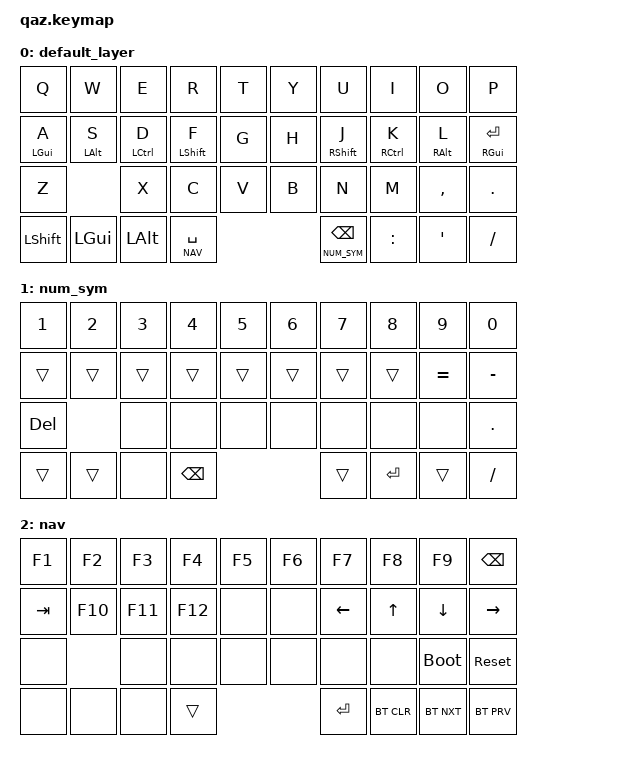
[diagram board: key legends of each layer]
/*
 * Copyright (c) 2020 The ZMK Contributors
 *
 * SPDX-License-Identifier: MIT
 */

#include <behaviors.dtsi>
#include <dt-bindings/zmk/keys.h>
#include <dt-bindings/zmk/bt.h>

#define DEFAULT 0
#define NUM_SYM 1
#define NAV     2

/ {
    behaviors {
        hm: homerow_mods {
            compatible = "zmk,behavior-hold-tap";
            #binding-cells = <2>;
            tapping-term-ms = <225>;
            flavor = "tap-preferred";
            bindings = <&kp>, <&kp>;
        };
    };
};

/ {
    keymap {
        compatible = "zmk,keymap";

        default_layer {
            bindings = <
    &kp Q      &kp W      &kp E       &kp R       &kp T  &kp Y  &kp U       &kp I       &kp O      &kp P
    &hm LGUI A &hm LALT S &hm LCTRL D &hm LSHFT F &kp G  &kp H  &hm RSHFT J &hm RCTRL K &hm RALT L &hm RGUI RET
    &kp Z                 &kp X       &kp C       &kp V  &kp B  &kp N       &kp M       &kp COMMA  &kp DOT
    &kp LSHFT  &kp LGUI   &kp LALT       &lt NAV SPACE   &lt NUM_SYM BSPC   &kp COLON   &kp SQT    &kp FSLH
            >;
        };
        num_sym {
            bindings = <
    &kp N1     &kp N2     &kp N3     &kp N4     &kp N5 &kp N6 &kp N7     &kp N8      &kp N9    &kp N0
    &trans     &trans     &trans     &trans     &trans &trans &trans     &trans      &kp EQUAL &kp MINUS
    &kp DEL               &none      &none      &none  &none  &none      &none       &none     &kp DOT
    &trans     &trans    &none         &kp BSPC        &trans             &kp RET     &trans    &kp FSLH
            >;
        };

    nav {
            bindings = <
    &kp F1     &kp F2     &kp F3     &kp F4      &kp F5 &kp F6 &kp F7    &kp F8       &kp F9    &kp BSPC
    &kp TAB       &kp F10    &kp F11    &kp F12     &none &none &kp LEFT    &kp UP       &kp DOWN  &kp RIGHT
    &none                 &none      &none       &none &none &none       &none        &bootloader &sys_reset
    &none      &none      &none         &trans        &kp RET             &bt BT_CLR &bt BT_NXT &bt BT_PRV
            >;
        };
    };
};
